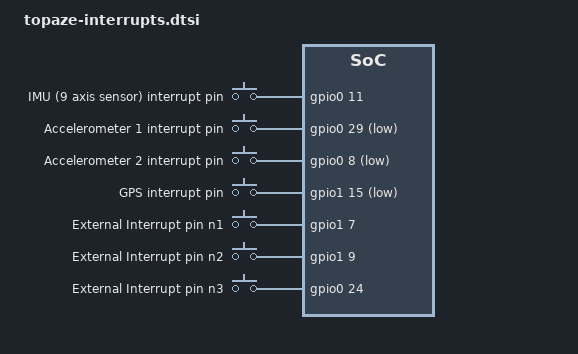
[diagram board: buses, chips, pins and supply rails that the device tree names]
/* ============================================================
 * This file is the overlay DTS for topaze that define the GPIOs
 *
 * We describe here the peripherals configuration for the
 * interruptibles pins only.
 *
 * l.heywang
 * 01/03/2025
 *
 * ============================================================
 */

// ============================================================
// GPIO INTERRUPTS PINS
// ============================================================
// Virtual device that map physical pins to names
&pinctrl {
    int {
        compatible = "gpio-keys";

        intimu: intimu {
            gpios = <&gpio0 11 GPIO_ACTIVE_HIGH>;
            label = "IMU (9 axis sensor) interrupt pin";
        };

        intaccel1: intaccel1 {
            gpios = <&gpio0 29 GPIO_ACTIVE_LOW>;
            label = "Accelerometer 1 interrupt pin";
        };

        intaccel2: intaccel2 {
            gpios = <&gpio0 8 GPIO_ACTIVE_LOW>;
            label = "Accelerometer 2 interrupt pin";
        };

        intgps: intgps {
            gpios = <&gpio1 15 GPIO_ACTIVE_LOW>;
            label = "GPS interrupt pin";
        };

        int1: int1 {
            gpios = <&gpio1 7 GPIO_ACTIVE_HIGH>;
            label = "External Interrupt pin n1";
        };

        int2: int2 {
            gpios = <&gpio1 9 GPIO_ACTIVE_HIGH>;
            label = "External Interrupt pin n2";
        };

        int3: int3 {
            gpios = <&gpio0 24 GPIO_ACTIVE_HIGH>;
            label = "External Interrupt pin n3";
        };
    };
};

/{
    aliases {
        intimu = &intimu;
        intgps = &intgps;
        intaccel1 = &intaccel1;
        intaccel2 = &intaccel2;
        int1 = &int1;
        int2 = &int2;
        int3 = &int3;
    };
};


